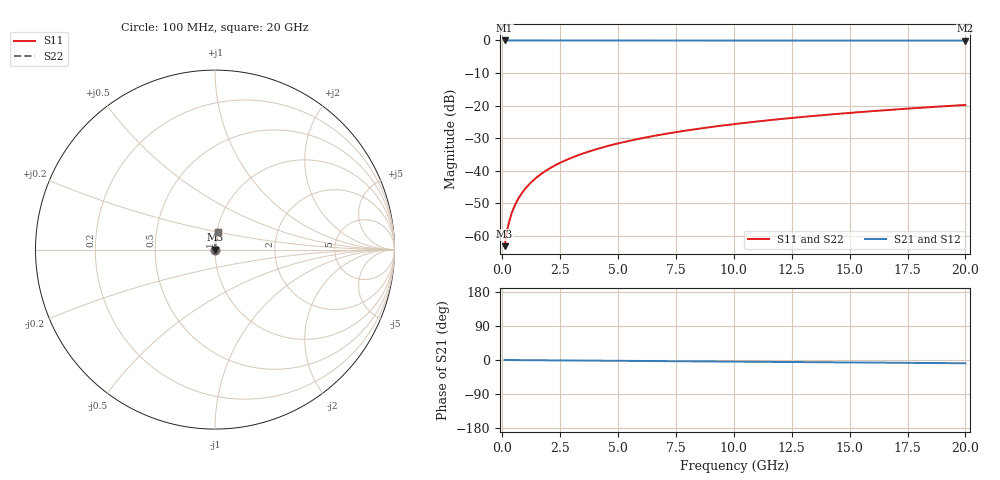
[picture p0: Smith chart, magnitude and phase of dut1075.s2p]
! Touchstone file exported from HFSS 2026.1.0
!  File:  C:/ffzhzh/LocalFiles/Ansys_Project_Files/temp_train_TSV_1075_1783190016_18472.aedt
!  Generated:  02:35:35 AM Jul  5, 2026
!  Design:  TSV
!  Project:  temp_train_TSV_1075_1783190016_18472
! Variables:
!  h_bsmrdl = 2um
!  h_ox = 20um
!  h_rdl = 5um
!  h_sub = 52.01um
!  h_tmrdl = 5um
!  h_tsv = 52.01um
!  h_via = 3um
!  l_bsmrdl = 300um
!  l_sub = 407.74um
!  l_tmrdl = 200um
!  m_sub = 200um
!  pitch = 58.6um
!  r_tsv = 3.87um
!  s_tmrdl = 10um
!  w_bsmrdl = 18um
!  w_sub = 500um
!  w_tmrdl = 12um
!  x_tsv_center1 = 206um
!  x_tsv_center2 = 524um
!  x_tsv_center3 = 736um
!  x_tsv_center4 = 1054um
!  x_tsv_center5 = 1266um
!  x_tsv_center6 = 1584um
# GHz S MA R 50.000000
! Terminal data exported
! Port[1] = TSV1_1_T1
! Port[2] = TSV1_1_T2
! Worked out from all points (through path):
!   200 points, 100 MHz to 20 GHz, reference 50 ohm
!   highest |S21| = 0.00 dB at 100 MHz (marker M1); lowest = -0.1 dB at 20 GHz (marker M2)
!   group delay of S21, straight-line fit = 1.19 ps
!   lowest |S11| = -63.2 dB at 100 MHz (marker M3), VSWR 1.00, Z = 50 + j0.0542 ohm
!   |S11| at or under -10 dB: start of sweep to end of sweep
!   |S22| runs from -63.2 to -19.8 dB; largest |S21 - S12| = 3.2e-15
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0.1  0.0006931 51.4  0.9996 -0.0  0.9996 -0.0  0.0006931 51.4
! Gamma 0 0 0 0
! Port Impedance 50 0 50 0
0.2  0.001166 67.7  0.9996 -0.1  0.9996 -0.1  0.001166 67.7
0.3  0.001674 74.3  0.9995 -0.1  0.9995 -0.1  0.001674 74.3
0.4  0.002191 77.7  0.9995 -0.2  0.9995 -0.2  0.002191 77.7
0.5  0.002711 79.9  0.9995 -0.2  0.9995 -0.2  0.002711 79.9
0.7  0.003756 82.4  0.9995 -0.3  0.9995 -0.3  0.003756 82.4
0.8  0.004281 83.2  0.9995 -0.4  0.9995 -0.4  0.004281 83.2
1  0.005331 84.3  0.9995 -0.4  0.9995 -0.4  0.005331 84.3
1.2  0.006383 85.0  0.9995 -0.5  0.9995 -0.5  0.006383 85.0
1.4  0.007436 85.4  0.9995 -0.6  0.9995 -0.6  0.007436 85.4
1.7  0.009014 85.9  0.9994 -0.7  0.9994 -0.7  0.009014 85.9
2  0.01059 86.1  0.9994 -0.9  0.9994 -0.9  0.01059 86.1
2.7  0.01427 86.4  0.9993 -1.2  0.9993 -1.2  0.01427 86.4
3.5  0.01845 86.3  0.9991 -1.5  0.9991 -1.5  0.01845 86.3
4.2  0.02209 86.2  0.999 -1.8  0.999 -1.8  0.02209 86.2
5  0.02623 86.0  0.9988 -2.2  0.9988 -2.2  0.02623 86.0
6.8  0.0355 85.4  0.9983 -3.0  0.9983 -3.0  0.0355 85.4
8.3  0.04318 84.9  0.9979 -3.6  0.9979 -3.6  0.04318 84.9
10.1  0.05235 84.2  0.9973 -4.4  0.9973 -4.4  0.05235 84.2
13.4  0.06909 83.0  0.9961 -5.8  0.9961 -5.8  0.06909 83.0
16.7  0.08571 81.7  0.9947 -7.2  0.9947 -7.2  0.08571 81.7
20  0.1022 80.4  0.993 -8.6  0.993 -8.6  0.1022 80.4
